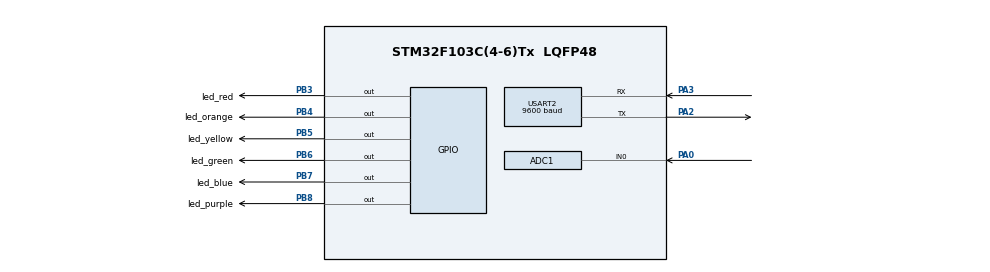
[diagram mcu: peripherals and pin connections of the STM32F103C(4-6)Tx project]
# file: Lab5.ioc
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ADC1.Channel-0\#ChannelRegularConversion=ADC_CHANNEL_0
ADC1.ContinuousConvMode=ENABLE
ADC1.NbrOfConversionFlag=1
ADC1.Rank-0\#ChannelRegularConversion=1
ADC1.SamplingTime-0\#ChannelRegularConversion=ADC_SAMPLETIME_1CYCLE_5
ADC1.master=1
Mcu.Family=STM32F1
Mcu.Name=STM32F103C(4-6)Tx
Mcu.Package=LQFP48
NVIC.PriorityGroup=NVIC_PRIORITYGROUP_4
NVIC.TIM2_IRQn=true\:0\:0\:false\:false\:true\:true\:true\:true
NVIC.USART2_IRQn=true\:0\:0\:false\:false\:true\:true\:true\:true
PA0-WKUP.Signal=ADCx_IN0
PA2.Mode=Asynchronous
PA2.Signal=USART2_TX
PA3.Mode=Asynchronous
PA3.Signal=USART2_RX
PB3.GPIO_Label=led_red
PB3.Signal=GPIO_Output
PB4.GPIO_Label=led_orange
PB4.Signal=GPIO_Output
PB5.GPIO_Label=led_yellow
PB5.Signal=GPIO_Output
PB6.GPIO_Label=led_green
PB6.Signal=GPIO_Output
PB7.GPIO_Label=led_blue
PB7.Signal=GPIO_Output
PB8.GPIO_Label=led_purple
PB8.Signal=GPIO_Output
ProjectManager.HeapSize=0x200
ProjectManager.StackSize=0x400
ProjectManager.TargetToolchain=STM32CubeIDE
RCC.APB1Freq_Value=8000000
RCC.APB2Freq_Value=8000000
SH.ADCx_IN0.0=ADC1_IN0,IN0
TIM2.Period=10 - 1
TIM2.Prescaler=8000 - 1
USART2.BaudRate=9600
USART2.VirtualMode=VM_ASYNC
VP_SYS_VS_ND.Mode=No_Debug
VP_TIM2_VS_ClockSourceINT.Mode=Internal
board=custom

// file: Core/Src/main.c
/* USER CODE BEGIN Header */
/**
  ******************************************************************************
  * @file           : main.c
  * @brief          : Main program body
  ******************************************************************************
  * @attention
  *
  * <h2><center>&copy; Copyright (c) 2022 STMicroelectronics.
  * All rights reserved.</center></h2>
  *
  * This software component is licensed by ST under BSD 3-Clause license,
  * the "License"; You may not use this file except in compliance with the
  * License. You may obtain a copy of the License at:
  *                        opensource.org/licenses/BSD-3-Clause
  *
  ******************************************************************************
  */
/* USER CODE END Header */
#include "main.h"

/* USER CODE BEGIN Includes */
#include "global.h"
/* USER CODE END Includes */

ADC_HandleTypeDef hadc1;

TIM_HandleTypeDef htim2;

UART_HandleTypeDef huart2;

void SystemClock_Config(void);
static void MX_GPIO_Init(void);
static void MX_TIM2_Init(void);
static void MX_USART2_UART_Init(void);
static void MX_ADC1_Init(void);

/* USER CODE BEGIN 0 */
void HAL_UART_RxCpltCallback(UART_HandleTypeDef* huart)
{
//	if(huart->Instance == USART2)
//	{
//		HAL_UART_Transmit(&huart2, &temp, 1, 50);
//		HAL_UART_Receive_IT(&huart2, &temp, 1);
//	}
	if(huart -> Instance == USART2){
		HAL_UART_Transmit (&huart2 , &temp, 1, 50);
		buffer[index_buffer++] = temp;
		if(index_buffer == MAX_BUFFER_SIZE) index_buffer = 0;
		buffer_flag = 1;
		HAL_UART_Receive_IT (&huart2 , &temp, 1);
	}
}
/* USER CODE END 0 */

int main(void)
{

  /* MCU Configuration--------------------------------------------------------*/

  /* Reset of all peripherals, Initializes the Flash interface and the Systick. */
  HAL_Init();

  /* USER CODE BEGIN Init */
  SCH_Init();
  /* USER CODE END Init */

  /* Configure the system clock */
  SystemClock_Config();

  /* Initialize all configured peripherals */
  MX_GPIO_Init();
  MX_TIM2_Init();
  MX_USART2_UART_Init();
  MX_ADC1_Init();
  /* USER CODE BEGIN 2 */
  HAL_TIM_Base_Start_IT(&htim2);
  HAL_UART_Receive_IT(&huart2, &temp, 1);
  /* USER CODE END 2 */

  /* Infinite loop */
  /* USER CODE BEGIN WHILE */
  SCH_Add_Task(led_red_toggle, 1000, 2000);
  SCH_Add_Task(led_orange_toggle, 2000, 2000);
  SCH_Add_Task(led_yellow_toggle, 4000, 2000);
  SCH_Add_Task(led_green_toggle, 8000, 2000);
  SCH_Add_Task(led_blue_toggle, 16000, 0);
//  SCH_Add_Task(uart_function, 0, 1);
//  SCH_Add_Task(uart_communication_fsm, 0, 1);

  while (1)
  {
	  SCH_Dispatch_Task();
	  if(buffer_flag == 1){
		  HAL_GPIO_WritePin(led_purple_GPIO_Port, led_purple_Pin, SET);
		  command_parser_fsm();
		  buffer_flag = 0;
	  }
	  uart_communication_fsm();
    /* USER CODE END WHILE */

  }
}

void SystemClock_Config(void)
{
  RCC_OscInitTypeDef RCC_OscInitStruct = {0};
  RCC_ClkInitTypeDef RCC_ClkInitStruct = {0};
  RCC_PeriphCLKInitTypeDef PeriphClkInit = {0};

  /** Initializes the RCC Oscillators according to the specified parameters
  * in the RCC_OscInitTypeDef structure.
  */
  RCC_OscInitStruct.OscillatorType = RCC_OSCILLATORTYPE_HSI;
  RCC_OscInitStruct.HSIState = RCC_HSI_ON;
  RCC_OscInitStruct.HSICalibrationValue = RCC_HSICALIBRATION_DEFAULT;
  RCC_OscInitStruct.PLL.PLLState = RCC_PLL_NONE;
  if (HAL_RCC_OscConfig(&RCC_OscInitStruct) != HAL_OK)
  {
    Error_Handler();
  }

  /** Initializes the CPU, AHB and APB buses clocks
  */
  RCC_ClkInitStruct.ClockType = RCC_CLOCKTYPE_HCLK|RCC_CLOCKTYPE_SYSCLK
                              |RCC_CLOCKTYPE_PCLK1|RCC_CLOCKTYPE_PCLK2;
  RCC_ClkInitStruct.SYSCLKSource = RCC_SYSCLKSOURCE_HSI;
  RCC_ClkInitStruct.AHBCLKDivider = RCC_SYSCLK_DIV1;
  RCC_ClkInitStruct.APB1CLKDivider = RCC_HCLK_DIV1;
  RCC_ClkInitStruct.APB2CLKDivider = RCC_HCLK_DIV1;

  if (HAL_RCC_ClockConfig(&RCC_ClkInitStruct, FLASH_LATENCY_0) != HAL_OK)
  {
    Error_Handler();
  }
  PeriphClkInit.PeriphClockSelection = RCC_PERIPHCLK_ADC;
  PeriphClkInit.AdcClockSelection = RCC_ADCPCLK2_DIV2;
  if (HAL_RCCEx_PeriphCLKConfig(&PeriphClkInit) != HAL_OK)
  {
    Error_Handler();
  }
}

static void MX_ADC1_Init(void)
{

  ADC_ChannelConfTypeDef sConfig = {0};

  /** Common config
  */
  hadc1.Instance = ADC1;
  hadc1.Init.ScanConvMode = ADC_SCAN_DISABLE;
  hadc1.Init.ContinuousConvMode = ENABLE;
  hadc1.Init.DiscontinuousConvMode = DISABLE;
  hadc1.Init.ExternalTrigConv = ADC_SOFTWARE_START;
  hadc1.Init.DataAlign = ADC_DATAALIGN_RIGHT;
  hadc1.Init.NbrOfConversion = 1;
  if (HAL_ADC_Init(&hadc1) != HAL_OK)
  {
    Error_Handler();
  }

  /** Configure Regular Channel
  */
  sConfig.Channel = ADC_CHANNEL_0;
  sConfig.Rank = ADC_REGULAR_RANK_1;
  sConfig.SamplingTime = ADC_SAMPLETIME_1CYCLE_5;
  if (HAL_ADC_ConfigChannel(&hadc1, &sConfig) != HAL_OK)
  {
    Error_Handler();
  }

}

static void MX_TIM2_Init(void)
{

  TIM_ClockConfigTypeDef sClockSourceConfig = {0};
  TIM_MasterConfigTypeDef sMasterConfig = {0};

  htim2.Instance = TIM2;
  htim2.Init.Prescaler = 8000 - 1;
  htim2.Init.CounterMode = TIM_COUNTERMODE_UP;
  htim2.Init.Period = 10 - 1;
  htim2.Init.ClockDivision = TIM_CLOCKDIVISION_DIV1;
  htim2.Init.AutoReloadPreload = TIM_AUTORELOAD_PRELOAD_DISABLE;
  if (HAL_TIM_Base_Init(&htim2) != HAL_OK)
  {
    Error_Handler();
  }
  sClockSourceConfig.ClockSource = TIM_CLOCKSOURCE_INTERNAL;
  if (HAL_TIM_ConfigClockSource(&htim2, &sClockSourceConfig) != HAL_OK)
  {
    Error_Handler();
  }
  sMasterConfig.MasterOutputTrigger = TIM_TRGO_RESET;
  sMasterConfig.MasterSlaveMode = TIM_MASTERSLAVEMODE_DISABLE;
  if (HAL_TIMEx_MasterConfigSynchronization(&htim2, &sMasterConfig) != HAL_OK)
  {
    Error_Handler();
  }

}

static void MX_USART2_UART_Init(void)
{

  huart2.Instance = USART2;
  huart2.Init.BaudRate = 9600;
  huart2.Init.WordLength = UART_WORDLENGTH_8B;
  huart2.Init.StopBits = UART_STOPBITS_1;
  huart2.Init.Parity = UART_PARITY_NONE;
  huart2.Init.Mode = UART_MODE_TX_RX;
  huart2.Init.HwFlowCtl = UART_HWCONTROL_NONE;
  huart2.Init.OverSampling = UART_OVERSAMPLING_16;
  if (HAL_UART_Init(&huart2) != HAL_OK)
  {
    Error_Handler();
  }

}

static void MX_GPIO_Init(void)
{
  GPIO_InitTypeDef GPIO_InitStruct = {0};

  /* GPIO Ports Clock Enable */
  __HAL_RCC_GPIOA_CLK_ENABLE();
  __HAL_RCC_GPIOB_CLK_ENABLE();

  /*Configure GPIO pin Output Level */
  HAL_GPIO_WritePin(GPIOB, led_red_Pin|led_orange_Pin|led_yellow_Pin|led_green_Pin
                          |led_blue_Pin|led_purple_Pin, GPIO_PIN_RESET);

  /*Configure GPIO pins : led_red_Pin led_orange_Pin led_yellow_Pin led_green_Pin
                           led_blue_Pin led_purple_Pin */
  GPIO_InitStruct.Pin = led_red_Pin|led_orange_Pin|led_yellow_Pin|led_green_Pin
                          |led_blue_Pin|led_purple_Pin;
  GPIO_InitStruct.Mode = GPIO_MODE_OUTPUT_PP;
  GPIO_InitStruct.Pull = GPIO_NOPULL;
  GPIO_InitStruct.Speed = GPIO_SPEED_FREQ_LOW;
  HAL_GPIO_Init(GPIOB, &GPIO_InitStruct);

}

/* USER CODE BEGIN 4 */
void HAL_TIM_PeriodElapsedCallback(TIM_HandleTypeDef *htim)
{
	SCH_Update();
}
/* USER CODE END 4 */

void Error_Handler(void)
{
  __disable_irq();
  while (1)
  {
  }
}
